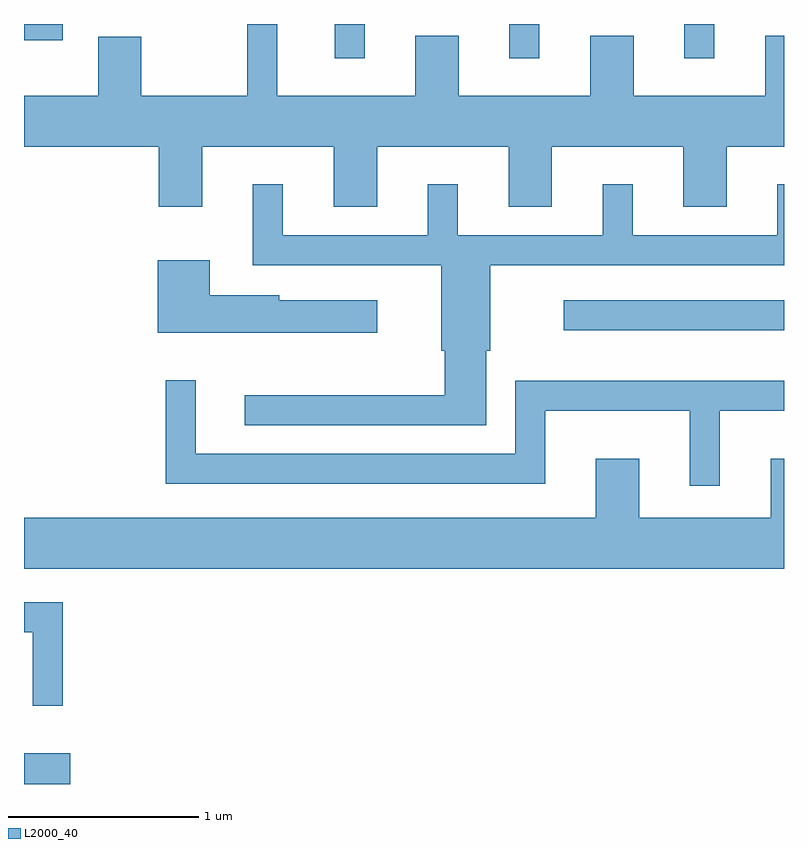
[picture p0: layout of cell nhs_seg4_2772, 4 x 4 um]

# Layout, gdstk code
import gdstk
lib = gdstk.Library(unit=1e-6, precision=1e-09)
def R(c, l, rs):  # rectangles x0, y0, x1, y1
    for r in rs: c.add(gdstk.rectangle(r[:2], r[2:], *l))
def A(c, l, x, y, w, h, nx, ny, dx, dy):  # array of equal rectangles
    R(c, l, [(x+i*dx, y+j*dy, x+i*dx+w, y+j*dy+h) for i in range(nx) for j in range(ny)])
def P(c, l, *ps):  # polygons
    for p in ps: c.add(gdstk.Polygon(p, *l))
L2000_40 = (2000, 40)

nhs_seg4_2772 = lib.new_cell('nhs_seg4_2772')
A(nhs_seg4_2772, L2000_40, 267.246, 1361.803, 0.158, 0.179, 3, 1, 0.92, 0)
R(nhs_seg4_2772, L2000_40, [(265.611,1357.982,265.854,1358.144), (268.453,1360.371,269.611,1360.529), (265.611,1361.896,265.814,1361.982)])
P(nhs_seg4_2772, L2000_40, [(266.549,1361.336),(267.241,1361.336),(267.241,1361.021),(267.469,1361.021),(267.469,1361.336),(268.161,1361.336),(268.161,1361.021),(268.389,1361.021),(268.389,1361.336),(269.081,1361.336),(269.081,1361.021),(269.309,1361.021),(269.309,1361.336),(269.611,1361.336),(269.611,1361.919),(269.511,1361.919),(269.511,1361.604),(268.819,1361.604),(268.819,1361.919),(268.591,1361.919),(268.591,1361.604),(267.899,1361.604),(267.899,1361.919),(267.671,1361.919),(267.671,1361.604),(266.944,1361.604),(266.944,1361.982),(266.786,1361.982),(266.786,1361.604),(266.229,1361.604),(266.229,1361.914),(266.001,1361.914),(266.001,1361.604),(265.611,1361.604),(265.611,1361.336),(266.321,1361.336),(266.321,1361.021),(266.549,1361.021)],
  [(268.044,1360.261),(268.064,1360.261),(268.064,1360.711),(269.611,1360.711),(269.611,1361.138),(269.576,1361.138),(269.576,1360.869),(268.814,1360.869),(268.814,1361.138),(268.656,1361.138),(268.656,1360.869),(267.894,1360.869),(267.894,1361.138),(267.736,1361.138),(267.736,1360.869),(266.974,1360.869),(266.974,1361.138),(266.816,1361.138),(266.816,1360.711),(267.806,1360.711),(267.806,1360.261),(267.826,1360.261),(267.826,1360.029),(266.773,1360.029),(266.773,1359.871),(268.044,1359.871)],
  [(267.469,1360.529),(266.954,1360.529),(266.954,1360.554),(266.589,1360.554),(266.589,1360.739),(266.316,1360.739),(266.316,1360.356),(267.469,1360.356)],
  [(269.274,1359.946),(269.611,1359.946),(269.611,1360.104),(268.196,1360.104),(268.196,1359.719),(266.514,1359.719),(266.514,1360.108),(266.356,1360.108),(266.356,1359.561),(268.354,1359.561),(268.354,1359.946),(269.116,1359.946),(269.116,1359.553),(269.274,1359.553)],
  [(269.611,1359.694),(269.541,1359.694),(269.541,1359.384),(268.849,1359.384),(268.849,1359.694),(268.621,1359.694),(268.621,1359.384),(265.611,1359.384),(265.611,1359.116),(269.611,1359.116)],
  [(265.814,1358.939),(265.611,1358.939),(265.611,1358.781),(265.656,1358.781),(265.656,1358.393),(265.814,1358.393)])

lib.write_gds('nhs_seg4_2772.gds')
